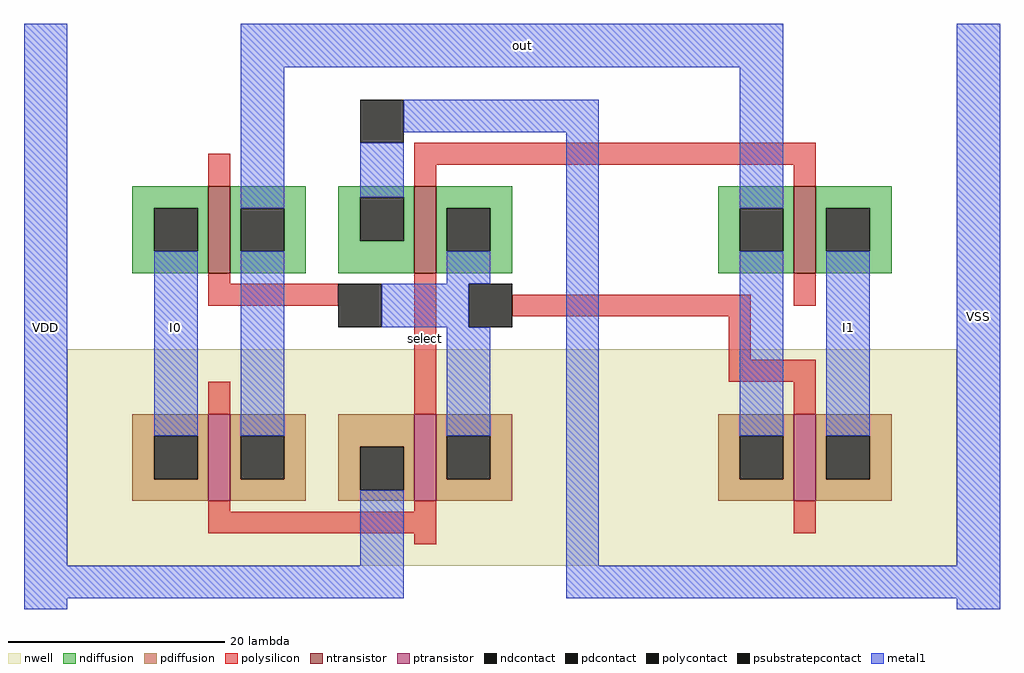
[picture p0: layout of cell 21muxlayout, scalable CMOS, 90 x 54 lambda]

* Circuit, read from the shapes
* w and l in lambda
.subckt 21muxlayout I0 I1 VDD VSS out select
M1 out n1 I0 VSS nfet w=8 l=2
M2 n1 select VSS VSS nfet w=8 l=2
M3 I1 select out VSS nfet w=8 l=2
M4 out select I0 n2 pfet w=8 l=2
M5 n1 select VDD n2 pfet w=8 l=2
M6 I1 n1 out n2 pfet w=8 l=2
.ends

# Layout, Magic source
magic
tech scmos
<< nwell >>
rect 9 25 91 45
<< ntransistor >>
rect 22 52 24 60
rect 41 52 43 60
rect 76 52 78 60
<< ptransistor >>
rect 22 31 24 39
rect 41 31 43 39
rect 76 31 78 39
<< ndiffusion >>
rect 15 58 22 60
rect 15 54 17 58
rect 21 54 22 58
rect 15 52 22 54
rect 24 58 31 60
rect 24 54 25 58
rect 29 54 31 58
rect 24 52 31 54
rect 34 59 41 60
rect 34 55 36 59
rect 40 55 41 59
rect 34 52 41 55
rect 43 58 50 60
rect 43 54 44 58
rect 48 54 50 58
rect 43 52 50 54
rect 69 58 76 60
rect 69 54 71 58
rect 75 54 76 58
rect 69 52 76 54
rect 78 58 85 60
rect 78 54 79 58
rect 83 54 85 58
rect 78 52 85 54
<< pdiffusion >>
rect 15 37 22 39
rect 15 33 17 37
rect 21 33 22 37
rect 15 31 22 33
rect 24 37 31 39
rect 24 33 25 37
rect 29 33 31 37
rect 24 31 31 33
rect 34 36 41 39
rect 34 32 36 36
rect 40 32 41 36
rect 34 31 41 32
rect 43 37 50 39
rect 43 33 44 37
rect 48 33 50 37
rect 43 31 50 33
rect 69 37 76 39
rect 69 33 71 37
rect 75 33 76 37
rect 69 31 76 33
rect 78 37 85 39
rect 78 33 79 37
rect 83 33 85 37
rect 78 31 85 33
<< ndcontact >>
rect 17 54 21 58
rect 25 54 29 58
rect 36 55 40 59
rect 44 54 48 58
rect 71 54 75 58
rect 79 54 83 58
<< pdcontact >>
rect 17 33 21 37
rect 25 33 29 37
rect 36 32 40 36
rect 44 33 48 37
rect 71 33 75 37
rect 79 33 83 37
<< psubstratepcontact >>
rect 36 64 40 68
<< polysilicon >>
rect 22 60 24 63
rect 41 62 78 64
rect 41 60 43 62
rect 76 60 78 62
rect 22 51 24 52
rect 22 49 34 51
rect 22 39 24 42
rect 41 39 43 52
rect 50 48 72 50
rect 76 49 78 52
rect 70 44 72 48
rect 70 42 78 44
rect 76 39 78 42
rect 22 30 24 31
rect 41 30 43 31
rect 22 28 43 30
rect 76 28 78 31
rect 41 27 43 28
<< polycontact >>
rect 34 47 38 51
rect 46 47 50 51
<< metal1 >>
rect 5 25 9 75
rect 25 71 75 75
rect 25 58 29 71
rect 17 37 21 54
rect 40 65 58 68
rect 36 59 40 64
rect 25 37 29 54
rect 44 51 48 54
rect 38 47 46 51
rect 44 37 48 47
rect 36 25 40 32
rect 5 22 40 25
rect 55 25 58 65
rect 71 58 75 71
rect 71 37 75 54
rect 79 37 83 54
rect 91 25 95 75
rect 55 22 95 25
rect 5 21 9 22
rect 91 21 95 22
<< labels >>
rlabel metal1 51 73 51 73 5 out
rlabel polysilicon 42 46 42 46 1 select
rlabel metal1 7 47 7 47 3 VDD
rlabel metal1 93 48 93 48 7 VSS
rlabel metal1 19 47 19 47 1 I0
rlabel metal1 81 47 81 47 1 I1
<< end >>
